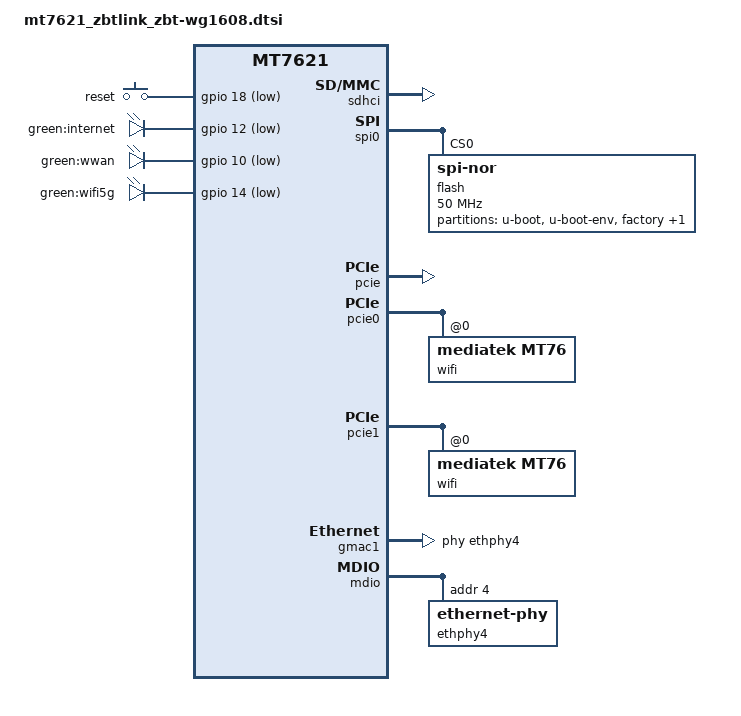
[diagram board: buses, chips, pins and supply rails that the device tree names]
// SPDX-License-Identifier: GPL-2.0-or-later OR MIT

#include "mt7621.dtsi"

#include <dt-bindings/gpio/gpio.h>
#include <dt-bindings/input/input.h>
#include <dt-bindings/leds/common.h>

/ {
	compatible = "zbtlink,zbt-wg1608", "mediatek,mt7621-soc";

	aliases {
		led-boot = &led_internet;
		led-failsafe = &led_internet;
		led-running = &led_internet;
		led-upgrade = &led_internet;
		label-mac-device = &gmac0;
	};

	chosen {
		bootargs = "console=ttyS0,115200";
	};

	keys {
		compatible = "gpio-keys";

		reset {
			label = "reset";
			gpios = <&gpio 18 GPIO_ACTIVE_LOW>;
			linux,code = <KEY_RESTART>;
		};
	};

	leds {
		compatible = "gpio-leds";

		led_internet: internet {
			label = "green:internet";
			gpios = <&gpio 12 GPIO_ACTIVE_LOW>;
		};

		wwan {
			label = "green:wwan";
			gpios = <&gpio 10 GPIO_ACTIVE_LOW>;
			linux,default-trigger = "usbport";
			trigger-sources = <&hub_port2>;
		};

		wifi5g {
			label = "green:wifi5g";
			gpios = <&gpio 14 GPIO_ACTIVE_LOW>;
			linux,default-trigger = "phy1tpt";
		};
	};
};

&sdhci {
	status = "okay";
};

&spi0 {
	status = "okay";

	flash@0 {
		compatible = "jedec,spi-nor";
		reg = <0>;
		spi-max-frequency = <50000000>;

		partitions {
			compatible = "fixed-partitions";
			#address-cells = <1>;
			#size-cells = <1>;

			partition@0 {
				label = "u-boot";
				reg = <0x0 0x30000>;
				read-only;
			};

			partition@30000 {
				label = "u-boot-env";
				reg = <0x30000 0x10000>;
				read-only;
			};

			factory: partition@40000 {
				label = "factory";
				reg = <0x40000 0x10000>;
				read-only;

				compatible = "nvmem-cells";
				#address-cells = <1>;
				#size-cells = <1>;

				macaddr_factory_e000: macaddr@e000 {
					reg = <0xe000 0x6>;
				};

				macaddr_factory_e006: macaddr@e006 {
					reg = <0xe006 0x6>;
				};

			};

			firmware: partition@50000 {
				compatible = "denx,uimage";
				label = "firmware";
			};
		};
	};
};

&pcie {
	status = "okay";
};

&pcie0 {
	wifi@0,0 {
		compatible = "mediatek,mt76";
		reg = <0x0000 0 0 0 0>;
		mediatek,mtd-eeprom = <&factory 0x0000>;
	};
};

&pcie1 {
	wifi@0,0 {
		compatible = "mediatek,mt76";
		reg = <0x0000 0 0 0 0>;
		mediatek,mtd-eeprom = <&factory 0x8000>;
		ieee80211-freq-limit = <5000000 6000000>;
	};
};

&gmac0 {
	nvmem-cells = <&macaddr_factory_e000>;
	nvmem-cell-names = "mac-address";
};

&gmac1 {
	status = "okay";
	label = "wan";
	phy-handle = <&ethphy4>;

	nvmem-cells = <&macaddr_factory_e006>;
	nvmem-cell-names = "mac-address";
};

&mdio {
	ethphy4: ethernet-phy@4 {
		reg = <4>;
	};
};

&switch0 {
	ports {
		port@0 {
			status = "okay";
			label = "lan1";
		};

		port@1 {
			status = "okay";
			label = "lan2";
		};

		port@2 {
			status = "okay";
			label = "lan3";
		};

		port@3 {
			status = "okay";
			label = "lan4";
		};
	};
};

&state_default {
	gpio {
		groups = "wdt", "uart2", "jtag";
		function = "gpio";
	};
};

&xhci_ehci_port1 {
	#address-cells = <1>;
	#size-cells = <0>;

	hub_port2: port@2 {
		reg = <2>;
		#trigger-source-cells = <0>;
	};

	port@4 {
		reg = <4>;
		#trigger-source-cells = <0>;
	};
};

